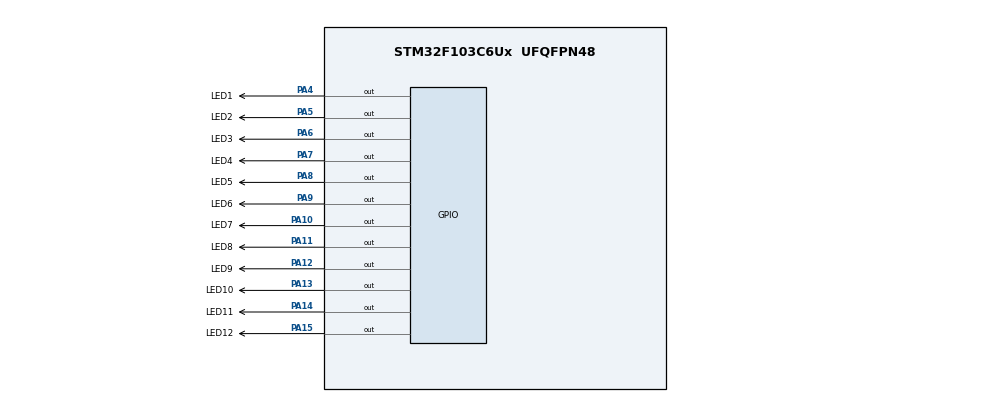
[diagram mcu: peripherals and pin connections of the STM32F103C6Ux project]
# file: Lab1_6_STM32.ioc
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Mcu.Family=STM32F1
Mcu.Name=STM32F103C6Ux
Mcu.Package=UFQFPN48
NVIC.PriorityGroup=NVIC_PRIORITYGROUP_4
PA10.GPIO_Label=LED7
PA10.Signal=GPIO_Output
PA11.GPIO_Label=LED8
PA11.Signal=GPIO_Output
PA12.GPIO_Label=LED9
PA12.Signal=GPIO_Output
PA13.GPIO_Label=LED10
PA13.Signal=GPIO_Output
PA14.GPIO_Label=LED11
PA14.Signal=GPIO_Output
PA15.GPIO_Label=LED12
PA15.Signal=GPIO_Output
PA4.GPIO_Label=LED1
PA4.Signal=GPIO_Output
PA5.GPIO_Label=LED2
PA5.Signal=GPIO_Output
PA6.GPIO_Label=LED3
PA6.Signal=GPIO_Output
PA7.GPIO_Label=LED4
PA7.Signal=GPIO_Output
PA8.GPIO_Label=LED5
PA8.Signal=GPIO_Output
PA9.GPIO_Label=LED6
PA9.Signal=GPIO_Output
ProjectManager.HeapSize=0x200
ProjectManager.StackSize=0x400
ProjectManager.TargetToolchain=STM32CubeIDE
RCC.APB1Freq_Value=8000000
RCC.APB2Freq_Value=8000000
VP_SYS_VS_ND.Mode=No_Debug
board=custom

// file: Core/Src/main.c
/* USER CODE BEGIN Header */
/**
  ******************************************************************************
  * @file           : main.c
  * @brief          : Main program body
  ******************************************************************************
  * @attention
  *
  * <h2><center>&copy; Copyright (c) 2023 STMicroelectronics.
  * All rights reserved.</center></h2>
  *
  * This software component is licensed by ST under BSD 3-Clause license,
  * the "License"; You may not use this file except in compliance with the
  * License. You may obtain a copy of the License at:
  *                        opensource.org/licenses/BSD-3-Clause
  *
  ******************************************************************************
  */
/* USER CODE END Header */
#include "main.h"

void SystemClock_Config(void);
static void MX_GPIO_Init(void);

/* USER CODE BEGIN 0 */

void clearAllClock()
{
	HAL_GPIO_WritePin(LED1_GPIO_Port, LED1_Pin, SET);
	HAL_GPIO_WritePin(LED2_GPIO_Port, LED2_Pin, SET);
	HAL_GPIO_WritePin(LED3_GPIO_Port, LED3_Pin, SET);
	HAL_GPIO_WritePin(LED4_GPIO_Port, LED4_Pin, SET);
	HAL_GPIO_WritePin(LED5_GPIO_Port, LED5_Pin, SET);
	HAL_GPIO_WritePin(LED6_GPIO_Port, LED6_Pin, SET);
	HAL_GPIO_WritePin(LED7_GPIO_Port, LED7_Pin, SET);
	HAL_GPIO_WritePin(LED8_GPIO_Port, LED8_Pin, SET);
	HAL_GPIO_WritePin(LED9_GPIO_Port, LED9_Pin, SET);
	HAL_GPIO_WritePin(LED10_GPIO_Port, LED10_Pin, SET);
	HAL_GPIO_WritePin(LED11_GPIO_Port, LED11_Pin, SET);
	HAL_GPIO_WritePin(LED12_GPIO_Port, LED12_Pin, SET);
}

void setNumberOnClock(int num)
{
	if(num == 0)
	{
		HAL_GPIO_WritePin(LED1_GPIO_Port, LED1_Pin, RESET);
	}
	else if(num == 1)
	{
		HAL_GPIO_WritePin(LED2_GPIO_Port, LED2_Pin, RESET);
	}
	else if(num == 2)
	{
		HAL_GPIO_WritePin(LED3_GPIO_Port, LED3_Pin, RESET);
	}
	else if(num == 3)
	{
		HAL_GPIO_WritePin(LED4_GPIO_Port, LED4_Pin, RESET);
	}
	else if(num == 4)
	{
		HAL_GPIO_WritePin(LED5_GPIO_Port, LED5_Pin, RESET);
	}
	else if(num == 5)
	{
		HAL_GPIO_WritePin(LED6_GPIO_Port, LED6_Pin, RESET);
	}
	else if(num == 6)
	{
		HAL_GPIO_WritePin(LED7_GPIO_Port, LED7_Pin, RESET);
	}
	else if(num == 7)
	{
		HAL_GPIO_WritePin(LED8_GPIO_Port, LED8_Pin, RESET);
	}
	else if(num == 8)
	{
		HAL_GPIO_WritePin(LED9_GPIO_Port, LED9_Pin, RESET);
	}
	else if(num == 9)
	{
		HAL_GPIO_WritePin(LED10_GPIO_Port, LED10_Pin, RESET);
	}
	else if(num == 10)
	{
		HAL_GPIO_WritePin(LED11_GPIO_Port, LED11_Pin, RESET);
	}
	else if(num == 11)
	{
		HAL_GPIO_WritePin(LED12_GPIO_Port, LED12_Pin, RESET);
	}
}

void clearNumberOnClock(int num)
{
	if(num == 0)
	{
		HAL_GPIO_WritePin(LED1_GPIO_Port, LED1_Pin, SET);
	}
	else if(num == 1)
	{
		HAL_GPIO_WritePin(LED2_GPIO_Port, LED2_Pin, SET);
	}
	else if(num == 2)
	{
		HAL_GPIO_WritePin(LED3_GPIO_Port, LED3_Pin, SET);
	}
	else if(num == 3)
	{
		HAL_GPIO_WritePin(LED4_GPIO_Port, LED4_Pin, SET);
	}
	else if(num == 4)
	{
		HAL_GPIO_WritePin(LED5_GPIO_Port, LED5_Pin, SET);
	}
	else if(num == 5)
	{
		HAL_GPIO_WritePin(LED6_GPIO_Port, LED6_Pin, SET);
	}
	else if(num == 6)
	{
		HAL_GPIO_WritePin(LED7_GPIO_Port, LED7_Pin, SET);
	}
	else if(num == 7)
	{
		HAL_GPIO_WritePin(LED8_GPIO_Port, LED8_Pin, SET);
	}
	else if(num == 8)
	{
		HAL_GPIO_WritePin(LED9_GPIO_Port, LED9_Pin, SET);
	}
	else if(num == 9)
	{
		HAL_GPIO_WritePin(LED10_GPIO_Port, LED10_Pin, SET);
	}
	else if(num == 10)
	{
		HAL_GPIO_WritePin(LED11_GPIO_Port, LED11_Pin, SET);
	}
	else if(num == 11)
	{
		HAL_GPIO_WritePin(LED12_GPIO_Port, LED12_Pin, SET);
	}
}

/* USER CODE END 0 */

int main(void)
{

  /* MCU Configuration--------------------------------------------------------*/

  /* Reset of all peripherals, Initializes the Flash interface and the Systick. */
  HAL_Init();

  /* Configure the system clock */
  SystemClock_Config();

  /* Initialize all configured peripherals */
  MX_GPIO_Init();

  /* Infinite loop */
  /* USER CODE BEGIN WHILE */
  /*HAL_GPIO_WritePin(LED1_GPIO_Port, LED1_Pin, SET);
  HAL_GPIO_WritePin(LED2_GPIO_Port, LED2_Pin, SET);
  HAL_GPIO_WritePin(LED3_GPIO_Port, LED3_Pin, SET);
  HAL_GPIO_WritePin(LED4_GPIO_Port, LED4_Pin, SET);
  HAL_GPIO_WritePin(LED5_GPIO_Port, LED5_Pin, SET);
  HAL_GPIO_WritePin(LED6_GPIO_Port, LED6_Pin, SET);
  HAL_GPIO_WritePin(LED7_GPIO_Port, LED7_Pin, SET);
  HAL_GPIO_WritePin(LED8_GPIO_Port, LED8_Pin, SET);
  HAL_GPIO_WritePin(LED9_GPIO_Port, LED9_Pin, SET);
  HAL_GPIO_WritePin(LED10_GPIO_Port, LED10_Pin, SET);
  HAL_GPIO_WritePin(LED11_GPIO_Port, LED11_Pin, SET);
  HAL_GPIO_WritePin(LED12_GPIO_Port, LED12_Pin, SET);*/

  int hour = 0;
  int min = 0;
  int sec = 0;

  while (1)
  {
	  sec = sec + 1;
	  if(sec >= 60)
	  {
		  min = min + 1;
		  sec = 0;
	  }
	  if(min >= 60)
	  {
		  hour = hour + 1;
		  min = 0;
	  }
	  if(hour >= 12)
	  {
		  hour = 0;
	  }
	  clearAllClock();
	  setNumberOnClock(hour);
	  setNumberOnClock(min/5);
	  setNumberOnClock(sec/5);
	  HAL_Delay(1000);
    /* USER CODE END WHILE */
  }
}

void SystemClock_Config(void)
{
  RCC_OscInitTypeDef RCC_OscInitStruct = {0};
  RCC_ClkInitTypeDef RCC_ClkInitStruct = {0};

  /** Initializes the RCC Oscillators according to the specified parameters
  * in the RCC_OscInitTypeDef structure.
  */
  RCC_OscInitStruct.OscillatorType = RCC_OSCILLATORTYPE_HSI;
  RCC_OscInitStruct.HSIState = RCC_HSI_ON;
  RCC_OscInitStruct.HSICalibrationValue = RCC_HSICALIBRATION_DEFAULT;
  RCC_OscInitStruct.PLL.PLLState = RCC_PLL_NONE;
  if (HAL_RCC_OscConfig(&RCC_OscInitStruct) != HAL_OK)
  {
    Error_Handler();
  }
  /** Initializes the CPU, AHB and APB buses clocks
  */
  RCC_ClkInitStruct.ClockType = RCC_CLOCKTYPE_HCLK|RCC_CLOCKTYPE_SYSCLK
                              |RCC_CLOCKTYPE_PCLK1|RCC_CLOCKTYPE_PCLK2;
  RCC_ClkInitStruct.SYSCLKSource = RCC_SYSCLKSOURCE_HSI;
  RCC_ClkInitStruct.AHBCLKDivider = RCC_SYSCLK_DIV1;
  RCC_ClkInitStruct.APB1CLKDivider = RCC_HCLK_DIV1;
  RCC_ClkInitStruct.APB2CLKDivider = RCC_HCLK_DIV1;

  if (HAL_RCC_ClockConfig(&RCC_ClkInitStruct, FLASH_LATENCY_0) != HAL_OK)
  {
    Error_Handler();
  }
}

static void MX_GPIO_Init(void)
{
  GPIO_InitTypeDef GPIO_InitStruct = {0};

  /* GPIO Ports Clock Enable */
  __HAL_RCC_GPIOA_CLK_ENABLE();

  /*Configure GPIO pin Output Level */
  HAL_GPIO_WritePin(GPIOA, LED1_Pin|LED2_Pin|LED3_Pin|LED4_Pin
                          |LED5_Pin|LED6_Pin|LED7_Pin|LED8_Pin
                          |LED9_Pin|LED10_Pin|LED11_Pin|LED12_Pin, GPIO_PIN_RESET);

  /*Configure GPIO pins : LED1_Pin LED2_Pin LED3_Pin LED4_Pin
                           LED5_Pin LED6_Pin LED7_Pin LED8_Pin
                           LED9_Pin LED10_Pin LED11_Pin LED12_Pin */
  GPIO_InitStruct.Pin = LED1_Pin|LED2_Pin|LED3_Pin|LED4_Pin
                          |LED5_Pin|LED6_Pin|LED7_Pin|LED8_Pin
                          |LED9_Pin|LED10_Pin|LED11_Pin|LED12_Pin;
  GPIO_InitStruct.Mode = GPIO_MODE_OUTPUT_PP;
  GPIO_InitStruct.Pull = GPIO_NOPULL;
  GPIO_InitStruct.Speed = GPIO_SPEED_FREQ_LOW;
  HAL_GPIO_Init(GPIOA, &GPIO_InitStruct);

}

void Error_Handler(void)
{
  __disable_irq();
  while (1)
  {
  }
}

/************************ (C) COPYRIGHT STMicroelectronics *****END OF FILE****/
